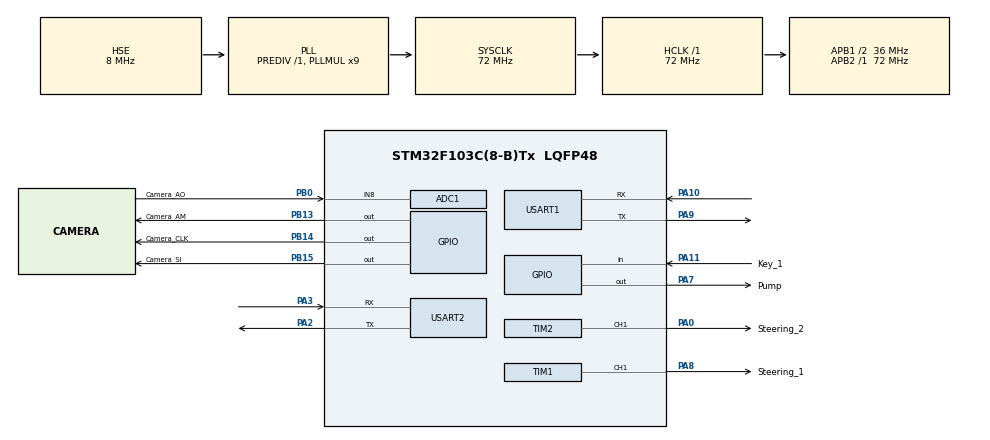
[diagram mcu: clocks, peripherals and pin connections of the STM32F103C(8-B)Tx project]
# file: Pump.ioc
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ADC1.Channel-0\#ChannelRegularConversion=ADC_CHANNEL_8
ADC1.NbrOfConversionFlag=1
ADC1.Rank-0\#ChannelRegularConversion=1
ADC1.SamplingTime-0\#ChannelRegularConversion=ADC_SAMPLETIME_1CYCLE_5
ADC1.master=1
Mcu.Family=STM32F1
Mcu.Name=STM32F103C(8-B)Tx
Mcu.Package=LQFP48
NVIC.PriorityGroup=NVIC_PRIORITYGROUP_4
NVIC.TIM3_IRQn=true\:0\:0\:false\:false\:true\:true\:true
PA0-WKUP.GPIO_Label=Steering_2
PA0-WKUP.Signal=S_TIM2_CH1_ETR
PA10.Mode=Asynchronous
PA10.Signal=USART1_RX
PA11.GPIO_Label=Key_1
PA11.GPIO_PuPd=GPIO_PULLUP
PA11.Signal=GPIO_Input
PA2.Mode=Asynchronous
PA2.Signal=USART2_TX
PA3.Mode=Asynchronous
PA3.Signal=USART2_RX
PA7.GPIO_Label=Pump
PA7.PinState=GPIO_PIN_RESET
PA7.Signal=GPIO_Output
PA8.GPIO_Label=Steering_1
PA8.Signal=S_TIM1_CH1
PA9.Mode=Asynchronous
PA9.Signal=USART1_TX
PB0.GPIO_Label=Camera_AO
PB0.Signal=ADCx_IN8
PB13.GPIO_Label=Camera_AM
PB13.Signal=GPIO_Output
PB14.GPIO_Label=Camera_CLK
PB14.Signal=GPIO_Output
PB15.GPIO_Label=Camera_SI
PB15.Signal=GPIO_Output
PD0-OSC_IN.Mode=HSE-External-Oscillator
PD0-OSC_IN.Signal=RCC_OSC_IN
PD1-OSC_OUT.Mode=HSE-External-Oscillator
PD1-OSC_OUT.Signal=RCC_OSC_OUT
ProjectManager.HeapSize=0x200
ProjectManager.StackSize=0x400
ProjectManager.TargetToolchain=MDK-ARM V5.27
RCC.ADCPresc=RCC_ADCPCLK2_DIV6
RCC.AHBFreq_Value=72000000
RCC.APB1CLKDivider=RCC_HCLK_DIV2
RCC.APB1Freq_Value=36000000
RCC.APB1TimFreq_Value=72000000
RCC.APB2Freq_Value=72000000
RCC.APB2TimFreq_Value=72000000
RCC.HCLKFreq_Value=72000000
RCC.PLLMUL=RCC_PLL_MUL9
RCC.PLLSourceVirtual=RCC_PLLSOURCE_HSE
RCC.SYSCLKFreq_VALUE=72000000
RCC.SYSCLKSource=RCC_SYSCLKSOURCE_PLLCLK
RCC.USBFreq_Value=72000000
SH.ADCx_IN8.0=ADC1_IN8,IN8
SH.S_TIM1_CH1.0=TIM1_CH1,PWM Generation1 CH1
SH.S_TIM2_CH1_ETR.0=TIM2_CH1,PWM Generation1 CH1
TIM1.AutoReloadPreload=TIM_AUTORELOAD_PRELOAD_ENABLE
TIM1.Channel-PWM\ Generation1\ CH1=TIM_CHANNEL_1
TIM1.Period=19999
TIM1.Prescaler=71
TIM2.AutoReloadPreload=TIM_AUTORELOAD_PRELOAD_ENABLE
TIM2.Channel-PWM\ Generation1\ CH1=TIM_CHANNEL_1
TIM2.Period=19999
TIM2.Prescaler=71
TIM3.Period=9999
TIM3.Prescaler=3599
USART1.VirtualMode=VM_ASYNC
USART2.VirtualMode=VM_ASYNC
VP_SYS_VS_ND.Mode=No_Debug
VP_TIM1_VS_ClockSourceINT.Mode=Internal
VP_TIM2_VS_ClockSourceINT.Mode=Internal
VP_TIM3_VS_ClockSourceINT.Mode=Internal
board=custom

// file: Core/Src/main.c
/* USER CODE BEGIN Header */
/**
  ******************************************************************************
  * @file           : main.c
  * @brief          : Main program body
  ******************************************************************************
  * @attention
  *
  * <h2><center>&copy; Copyright (c) 2021 STMicroelectronics.
  * All rights reserved.</center></h2>
  *
  * This software component is licensed by ST under BSD 3-Clause license,
  * the "License"; You may not use this file except in compliance with the
  * License. You may obtain a copy of the License at:
  *                        opensource.org/licenses/BSD-3-Clause
  *
  ******************************************************************************
  */
/* USER CODE END Header */
#include "main.h"
#include "adc.h"
#include "tim.h"
#include "usart.h"
#include "gpio.h"

/* USER CODE BEGIN Includes */
#include <stdio.h>
#include "pumpshot.h"
/* USER CODE END Includes */

void SystemClock_Config(void);

/* USER CODE BEGIN 0 */
extern u8 Working_State;
/* USER CODE END 0 */

int main(void)
{

  /* MCU Configuration--------------------------------------------------------*/

  /* Reset of all peripherals, Initializes the Flash interface and the Systick. */
  HAL_Init();

  /* Configure the system clock */
  SystemClock_Config();

  /* Initialize all configured peripherals */
  MX_GPIO_Init();
  MX_ADC1_Init();
  MX_TIM1_Init();
  MX_TIM2_Init();
  MX_USART1_UART_Init();
  MX_USART2_UART_Init();
  MX_TIM3_Init();
  /* USER CODE BEGIN 2 */
  HAL_Delay(200);
  printf("This is Pump project!\r\n");
  Steer_Init();
  Steer_Start();
  // Test whether PWM channel is useful by using 50%
//

  /* USER CODE END 2 */

  /* Infinite loop */
  while (1)
  {

    /* USER CODE BEGIN 3 */
    if(HAL_GPIO_ReadPin(Key_1_GPIO_Port, Key_1_Pin)){
        Working_State = 1 - Working_State;
        HAL_Delay(20);
    }
    switch (Working_State){
        case 1:
            break;

        case 2:
            break;
    }
  }
  /* USER CODE END 3 */
}

void SystemClock_Config(void)
{
  RCC_OscInitTypeDef RCC_OscInitStruct = {0};
  RCC_ClkInitTypeDef RCC_ClkInitStruct = {0};
  RCC_PeriphCLKInitTypeDef PeriphClkInit = {0};

  /** Initializes the RCC Oscillators according to the specified parameters
  * in the RCC_OscInitTypeDef structure.
  */
  RCC_OscInitStruct.OscillatorType = RCC_OSCILLATORTYPE_HSE;
  RCC_OscInitStruct.HSEState = RCC_HSE_ON;
  RCC_OscInitStruct.HSEPredivValue = RCC_HSE_PREDIV_DIV1;
  RCC_OscInitStruct.HSIState = RCC_HSI_ON;
  RCC_OscInitStruct.PLL.PLLState = RCC_PLL_ON;
  RCC_OscInitStruct.PLL.PLLSource = RCC_PLLSOURCE_HSE;
  RCC_OscInitStruct.PLL.PLLMUL = RCC_PLL_MUL9;
  if (HAL_RCC_OscConfig(&RCC_OscInitStruct) != HAL_OK)
  {
    Error_Handler();
  }
  /** Initializes the CPU, AHB and APB buses clocks
  */
  RCC_ClkInitStruct.ClockType = RCC_CLOCKTYPE_HCLK|RCC_CLOCKTYPE_SYSCLK
                              |RCC_CLOCKTYPE_PCLK1|RCC_CLOCKTYPE_PCLK2;
  RCC_ClkInitStruct.SYSCLKSource = RCC_SYSCLKSOURCE_PLLCLK;
  RCC_ClkInitStruct.AHBCLKDivider = RCC_SYSCLK_DIV1;
  RCC_ClkInitStruct.APB1CLKDivider = RCC_HCLK_DIV2;
  RCC_ClkInitStruct.APB2CLKDivider = RCC_HCLK_DIV1;

  if (HAL_RCC_ClockConfig(&RCC_ClkInitStruct, FLASH_LATENCY_2) != HAL_OK)
  {
    Error_Handler();
  }
  PeriphClkInit.PeriphClockSelection = RCC_PERIPHCLK_ADC;
  PeriphClkInit.AdcClockSelection = RCC_ADCPCLK2_DIV6;
  if (HAL_RCCEx_PeriphCLKConfig(&PeriphClkInit) != HAL_OK)
  {
    Error_Handler();
  }
}

void Error_Handler(void)
{
  __disable_irq();
  while (1)
  {
  }
}

/************************ (C) COPYRIGHT STMicroelectronics *****END OF FILE****/
